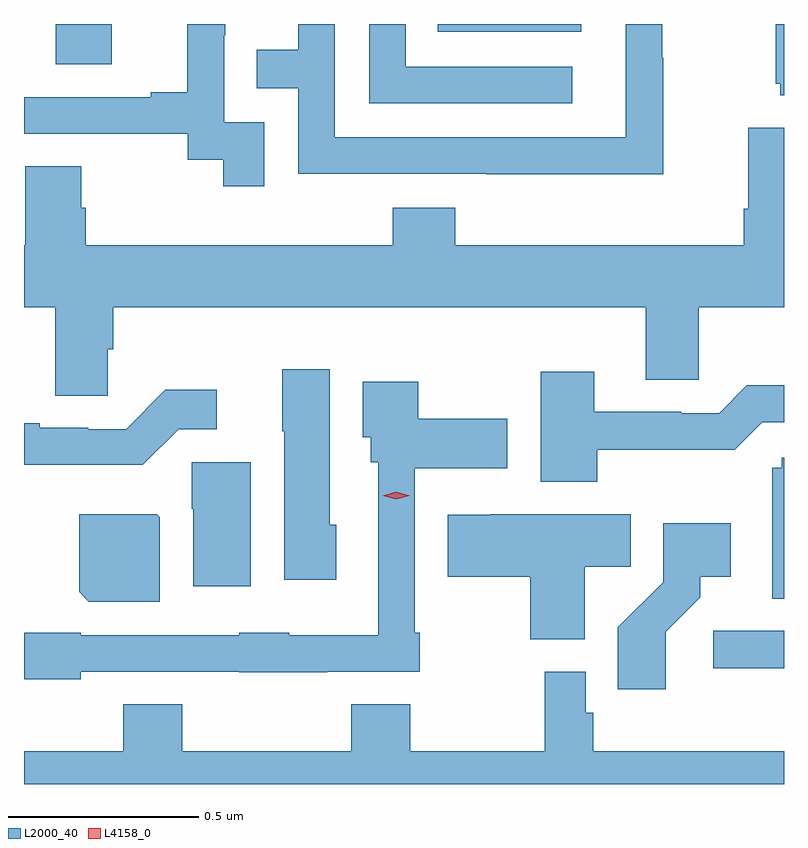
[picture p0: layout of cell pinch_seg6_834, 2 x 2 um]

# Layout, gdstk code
import gdstk
lib = gdstk.Library(unit=1e-6, precision=1e-09)
def R(c, l, rs):  # rectangles x0, y0, x1, y1
    for r in rs: c.add(gdstk.rectangle(r[:2], r[2:], *l))
def P(c, l, *ps):  # polygons
    for p in ps: c.add(gdstk.Polygon(p, *l))
L2000_40 = (2000, 40)
L4158_0 = (4158, 0)

pinch_seg6_834 = lib.new_cell('pinch_seg6_834')
R(pinch_seg6_834, L2000_40, [(184.035,974.359,184.221,974.457), (182.304,975.948,182.452,976.054), (183.31,976.034,183.688,976.054), (183.993,976.053,184.089,976.054)])
P(pinch_seg6_834, L2000_40, [(182.853,975.795),(182.748,975.795),(182.748,976.025),(182.75,976.025),(182.75,976.054),(182.651,976.054),(182.651,975.874),(182.555,975.874),(182.555,975.861),(182.221,975.861),(182.221,975.765),(182.652,975.765),(182.652,975.697),(182.745,975.697),(182.745,975.627),(182.853,975.627)],
  [(183.903,975.965),(183.9,975.965),(183.9,976.054),(183.804,976.054),(183.804,975.756),(183.039,975.756),(183.039,976.054),(182.943,976.054),(182.943,975.986),(182.833,975.986),(182.833,975.885),(182.943,975.885),(182.943,975.66),(183.439,975.66),(183.439,975.659),(183.903,975.659)],
  [(184.221,976.054),(184.199,976.054),(184.199,975.897),(184.211,975.897),(184.211,975.866),(184.221,975.866)],
  [(183.664,975.942),(183.225,975.942),(183.225,976.054),(183.129,976.054),(183.129,975.846),(183.664,975.846)],
  [(184.221,975.781),(184.127,975.781),(184.127,975.568),(184.115,975.568),(184.115,975.472),(183.356,975.472),(183.356,975.571),(183.191,975.571),(183.191,975.472),(182.384,975.472),(182.384,975.57),(182.371,975.57),(182.371,975.68),(182.224,975.68),(182.224,975.472),(182.221,975.472),(182.221,975.308),(182.303,975.308),(182.303,975.076),(182.442,975.076),(182.442,975.198),(182.456,975.198),(182.456,975.308),(183.857,975.308),(183.857,975.118),(183.996,975.118),(183.996,975.308),(184.221,975.308)],
  [(183.043,974.736),(183.025,974.736),(183.025,975.145),(182.9,975.145),(182.9,974.982),(182.906,974.982),(182.906,974.592),(183.043,974.592)],
  [(183.729,974.934),(183.992,974.934),(183.992,974.933),(184.091,974.933),(184.164,975.006),(184.221,975.006),(184.221,975.103),(184.123,975.103),(184.05,975.03),(183.95,975.03),(183.95,975.033),(183.721,975.033),(183.721,975.139),(183.581,975.139),(183.581,974.849),(183.729,974.849)],
  [(182.37,974.349),(182.787,974.349),(182.787,974.348),(183.019,974.348),(183.019,974.349),(183.262,974.349),(183.262,974.452),(183.249,974.452),(183.249,974.885),(183.493,974.885),(183.493,975.015),(183.258,975.015),(183.258,975.112),(183.113,975.112),(183.113,974.967),(183.134,974.967),(183.134,974.901),(183.153,974.901),(183.153,974.446),(182.919,974.446),(182.919,974.452),(182.787,974.452),(182.787,974.445),(182.37,974.445),(182.37,974.452),(182.221,974.452),(182.221,974.33),(182.37,974.33)],
  [(182.628,974.988),(182.728,974.988),(182.728,975.091),(182.593,975.091),(182.49,974.988),(182.39,974.988),(182.39,974.991),(182.263,974.991),(182.263,975.004),(182.221,975.004),(182.221,974.894),(182.533,974.894)],
  [(184.221,974.913),(184.215,974.913),(184.215,974.886),(184.19,974.886),(184.19,974.542),(184.221,974.542)],
  [(182.818,974.901),(182.662,974.901),(182.662,974.778),(182.666,974.778),(182.666,974.574),(182.818,974.574)],
  [(183.697,974.626),(183.818,974.626),(183.818,974.764),(183.448,974.764),(183.448,974.763),(183.336,974.763),(183.336,974.599),(183.553,974.599),(183.553,974.435),(183.697,974.435)],
  [(182.578,974.756),(182.57,974.764),(182.366,974.764),(182.366,974.56),(182.392,974.534),(182.578,974.534)],
  [(183.91,974.455),(184,974.545),(184,974.6),(184.081,974.6),(184.081,974.74),(183.903,974.74),(183.903,974.585),(183.784,974.466),(183.784,974.304),(183.91,974.304)],
  [(184.221,974.14),(183.719,974.14),(183.719,974.241),(183.699,974.241),(183.699,974.35),(183.591,974.35),(183.591,974.14),(183.237,974.14),(183.237,974.264),(183.082,974.264),(183.082,974.14),(182.637,974.14),(182.637,974.264),(182.482,974.264),(182.482,974.14),(182.221,974.14),(182.221,974.054),(184.221,974.054)])
P(pinch_seg6_834, L4158_0, [(183.201,974.803),(183.165,974.813),(183.165,974.813),(183.165,974.813),(183.201,974.823),(183.236,974.813),(183.236,974.812),(183.236,974.812)])

lib.write_gds('pinch_seg6_834.gds')
